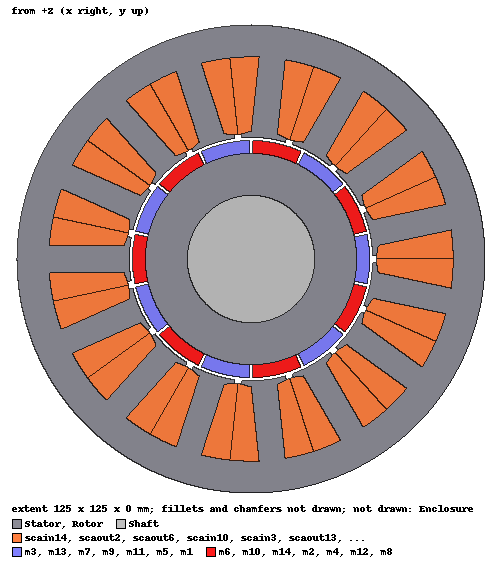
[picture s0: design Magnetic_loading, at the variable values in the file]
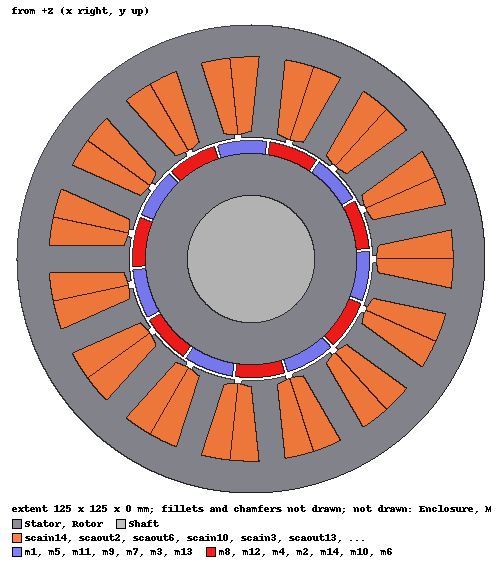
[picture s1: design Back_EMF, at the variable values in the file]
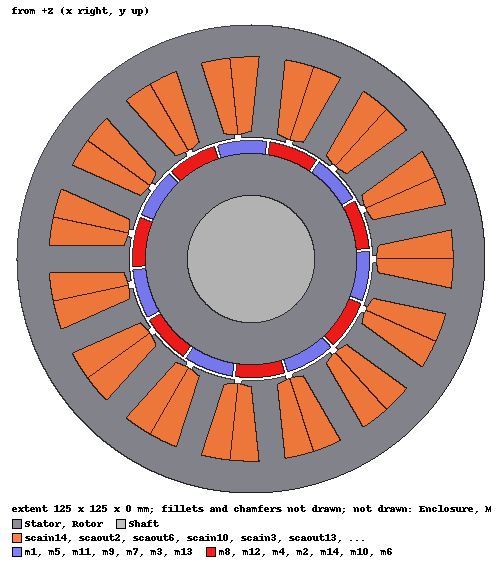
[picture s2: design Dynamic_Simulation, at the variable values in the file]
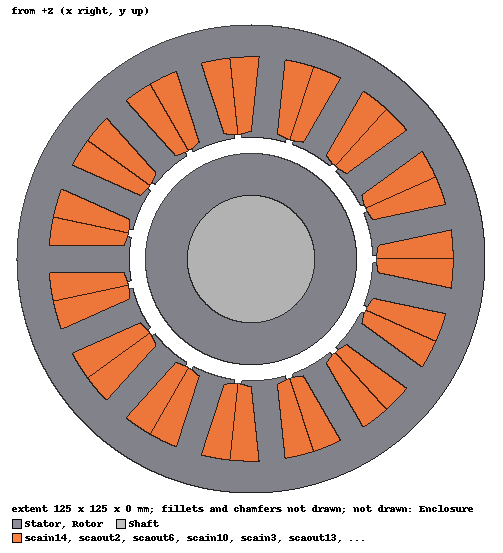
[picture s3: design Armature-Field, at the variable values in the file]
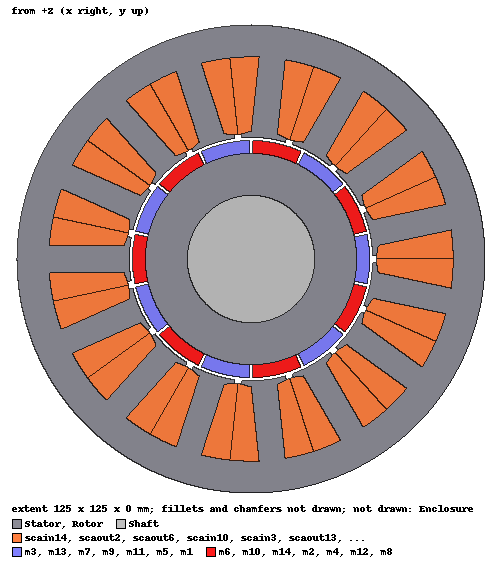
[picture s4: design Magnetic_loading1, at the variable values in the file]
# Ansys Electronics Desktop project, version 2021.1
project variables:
  $OSD = 125mm
  $D = 65mm
  $hs0 = 1mm
  $hs1 = 0.5mm
  $hs2 = 20mm
  $Ns = 15
  $Nm = 14
  $alpha_s = 360deg/$Ns
  $alpha_p = 360deg/$Nm
  $wst1 = 7mm
  $g_wst = 1
  $wst2 = $g_wst*$wst1
  $gamma_s = 2*asin($wst2/2)/($D/2+$hs0+$hs1+$hs2)
  $bs1 = 2*(tan($alpha_s/2)*($D/2+$hs0+$hs1)-$wst1/(2*cos($alpha_s/2)))
  $bs0 = 2mm
  $ssfr = 2mm
  $Dsh = 34mm
  $g = 0.8mm
  $dm = 3.5mm
  $g_m = 0.94
  $alpha_m = $g_m*$alpha_p
  $Lstk = 33mm
  $Ntc = 152
  $Vdc = 500V
  $Rph = 10.2ohm
  $Thetar0 = 43deg
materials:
  vacuum: permittivity=1
  copper: permeability=0.999991 conductivity=58000000
  steel_stainless: conductivity=1100000
  Cogent Power - M350-50A, 50Hz: core_loss_curve{50Hz (0, 0) (0.05, 0.01) (0.1, 0.02) (0.15, 0.055) (0.2, 0.09) (0.25, 0.135) (0.3, 0.18) (0.35, 0.24) (0.4, 0.3) (0.45, 0.37) (0.5, 0.44) (0.55, 0.515) (0.6, 0.59) (0.65, 0.675) (0.7, 0.76) (0.75, 0.855) (0.8, 0.95) (0.85, 1.055) (0.9, 1.16) (0.95, 1.275) (1, 1.39) (1.05, 1.52) (1.1, 1.65) (1.15, 1.8) (1.2, 1.95) (1.25, 2.12) (1.3, 2.29) (1.35, 2.52) (1.4, 2.75) (1.45, 3.02) (1.5, 3.29) (1.55, 3.85) (1.6, 4.41) (1.65, 4.59) (1.7, 4.77) (1.75, 4.885) (1.8, 5)} core_loss_curve{100Hz (0, 0) (0.05, 0.03) (0.1, 0.06) (0.15, 0.15) (0.2, 0.24) (0.25, 0.37) (0.3, 0.5) (0.35, 0.655) (0.4, 0.81) (0.45, 0.995) (0.5, 1.18) (0.55, 1.39) (0.6, 1.6) (0.65, 1.84) (0.7, 2.08) (0.75, 2.35) (0.8, 2.62) (0.85, 2.915) (0.9, 3.21) (0.95, 3.545) (1, 3.88) (1.05, 4.245) (1.1, 4.61) (1.15, 5.02) (1.2, 5.43) (1.25, 5.9) (1.3, 6.37) (1.35, 6.95) (1.4, 7.53) (1.45, 8.26) (1.5, 8.99) (1.55, 9.72) (1.6, 10.45) (1.65, 11.18) (1.7, 11.91) (1.75, 12.64) (1.8, 13.37)} core_loss_curve{200Hz (0, 0) (0.05, 0.085) (0.1, 0.17) (0.15, 0.395) (0.2, 0.62) (0.25, 0.96) (0.3, 1.3) (0.35, 1.725) (0.4, 2.15) (0.45, 2.66) (0.5, 3.17) (0.55, 3.765) (0.6, 4.36) (0.65, 5.045) (0.7, 5.73) (0.75, 6.52) (0.8, 7.31) (0.85, 8.2) (0.9, 9.09) (0.95, 10.095) (1, 11.1) (1.05, 12.25) (1.1, 13.4) (1.15, 14.7) (1.2, 16) (1.25, 17.45) (1.3, 18.9) (1.35, 20.6) (1.4, 22.3) (1.45, 24.45) (1.5, 26.6) (1.55, 28.75) (1.6, 30.9) (1.65, 33.05) (1.7, 35.2) (1.75, 37.35) (1.8, 39.5)} core_loss_curve{400Hz (0, 0) (0.05, 0.24) (0.1, 0.48) (0.15, 1.115) (0.2, 1.75) (0.25, 2.685) (0.3, 3.62) (0.35, 4.82) (0.4, 6.02) (0.45, 7.49) (0.5, 8.96) (0.55, 10.73) (0.6, 12.5) (0.65, 14.55) (0.7, 16.6) (0.75, 19.05) (0.8, 21.5) (0.85, 24.35) (0.9, 27.2) (0.95, 30.5) (1, 33.8) (1.05, 37.65) (1.1, 41.5) (1.15, 45.95) (1.2, 50.4) (1.25, 55.4) (1.3, 60.4) (1.35, 66.25) (1.4, 72.1) (1.45, 78.9) (1.5, 85.7) (1.55, 92.5) (1.6, 99.3) (1.65, 106.1) (1.7, 112.9) (1.75, 119.7) (1.8, 126.5)} core_loss_curve{1000Hz (0, 0) (0.05, 1.01) (0.1, 2.02) (0.15, 4.585) (0.2, 7.15) (0.25, 10.925) (0.3, 14.7) (0.35, 19.65) (0.4, 24.6) (0.45, 30.9) (0.5, 37.2) (0.55, 45.15) (0.6, 53.1) (0.65, 62.9) (0.7, 72.7) (0.75, 84.8) (0.8, 96.9) (0.85, 111.45) (0.9, 126) (0.95, 144) (1, 162) (1.05, 183) (1.1, 204) (1.15, 229) (1.2, 254) (1.25, 283) (1.3, 312) (1.35, 345) (1.4, 378) (1.45, 417) (1.5, 456) (1.55, 495) (1.6, 534) (1.65, 573) (1.7, 612) (1.75, 651) (1.8, 690)} permeability{HUnit=A_per_meter BUnit=tesla curve (0, 0) (9.03568, 0.025) (17.6854, 0.05) (25.5633, 0.075) (32.2833, 0.1) (37.5786, 0.125) (41.6583, 0.15) (44.8505, 0.175) (47.4833, 0.2) (49.8375, 0.225) (52.0042, 0.25) (54.0271, 0.275) (55.95, 0.3) (57.8115, 0.325) (59.6292, 0.35) (61.4156, 0.375) (63.1833, 0.4) (64.9438, 0.425) (66.7042, 0.45) (68.4708, 0.475) (70.25, 0.5) (72.0482, 0.525) (73.8729, 0.55) (75.732, 0.575) (77.6333, 0.6) (79.5841, 0.625) (81.5896, 0.65) (83.6544, 0.675) (85.7833, 0.7) (87.9826, 0.725) (90.2646, 0.75) (92.6435, 0.775) (95.1333, 0.8) (97.7531, 0.825) (100.542, 0.85) (103.543, 0.875) (106.8, 0.9) (110.358, 0.925) (114.267, 0.95) (118.575, 0.975) (123.333, 1) (128.602, 1.025) (134.479, 1.05) (141.076, 1.075) (148.5, 1.1) (156.909, 1.125) (166.646, 1.15) (178.102, 1.175) (191.667, 1.2) (207.922, 1.225) (228.208, 1.25) (254.057, 1.275) (287, 1.3) (329.26, 1.325) (385.833, 1.35) (462.406, 1.375) (564.667, 1.4) (698.927, 1.425) (874, 1.45) (1099.32, 1.475) (1384.33, 1.5) (1737.49, 1.525) (2163.38, 1.55) (2665.57, 1.575) (3247.67, 1.6) (3912.76, 1.625) (4661.94, 1.65) (5495.77, 1.675) (6414.83, 1.7) (7407.02, 1.72474) (8409.48, 1.74794) (9346.65, 1.76806) (10143, 1.78356) (10794.8, 1.79346) (11585.9, 1.79912) (12871.7, 1.80246) (15008, 1.80539) (18240.8, 1.80945) (22378, 1.81465) (27118.3, 1.82061) (32160, 1.82694)} conductivity=2380950 core_loss_type="Electrical Steel" core_loss_kh=182.455 core_loss_kc=1.34676 mass_density=7650 stacking_type=Lamination stacking_factor=0.9 stacking_direction=V(3)
  Arnold_Magnetics_N42UH_60C_North: CoordinateSystemType=Cylindrical permeability{HUnit=A_per_meter BUnit=tesla curve (-1620000, -2.1076) (-1612000, -1.2642) (-1604000, -1.0868) (-1582000, -0.9281) (-1563000, -0.8658) (-1544000, -0.8214) (-1525000, -0.7845) (-1506000, -0.7514) (-1487000, -0.7207) (-1468000, -0.6914) (-1449000, -0.6631) (-1430000, -0.6355) (-1411000, -0.6083) (-1392000, -0.5816) (-1373000, -0.5552) (-1354000, -0.5289) (-1334000, -0.5029) (-1315000, -0.477) (-1296000, -0.4513) (-1277000, -0.4256) (-1258000, -0.4001) (-1239000, -0.3746) (-1220000, -0.3492) (-1201000, -0.3238) (-1182000, -0.2985) (-1163000, -0.2733) (-1144000, -0.248) (-1125000, -0.2228) (-1106000, -0.1977) (-1087000, -0.1725) (-1068000, -0.1474) (-1049000, -0.1223) (-1029000, -0.0972) (-1010000, -0.0722) (-991000, -0.0471) (-972000, -0.0221) (-953000, 0.0029) (-934000, 0.0279) (-915000, 0.0529) (-896000, 0.0779) (-877000, 0.1029) (-858000, 0.1278) (-839000, 0.1528) (-820000, 0.1777) (-801000, 0.2027) (-782000, 0.2276) (-763000, 0.2526) (-743000, 0.2775) (-724000, 0.3024) (-705000, 0.3273) (-686000, 0.3522) (-667000, 0.3771) (-648000, 0.402) (-629000, 0.4269) (-610000, 0.4518) (-591000, 0.4767) (-572000, 0.5016) (-553000, 0.5264) (-534000, 0.5513) (-515000, 0.5762) (-496000, 0.6011) (-477000, 0.6259) (-458000, 0.6508) (-438000, 0.6757) (-419000, 0.7005) (-400000, 0.7254) (-381000, 0.7503) (-362000, 0.7751) (-343000, 0.8) (-324000, 0.8248) (-305000, 0.8497) (-286000, 0.8745) (-267000, 0.8994) (-248000, 0.9242) (-229000, 0.9491) (-210000, 0.9739) (-191000, 0.9988) (-172000, 1.0236) (-153000, 1.0484) (-133000, 1.0733) (-114000, 1.0981) (-95000, 1.1229) (-76000, 1.1478) (-57000, 1.1726) (-38000, 1.1975) (-19000, 1.2223) (0, 1.2471)} conductivity=555555.5556 magnetic_coercivity{Magnitude=-1005300A_per_meter DirComp1=1 DirComp2=0 DirComp3=0}
  Arnold_Magnetics_N42UH_60C_South: CoordinateSystemType=Cylindrical permeability{HUnit=A_per_meter BUnit=tesla curve (-1620000, -2.1076) (-1612000, -1.2642) (-1604000, -1.0868) (-1582000, -0.9281) (-1563000, -0.8658) (-1544000, -0.8214) (-1525000, -0.7845) (-1506000, -0.7514) (-1487000, -0.7207) (-1468000, -0.6914) (-1449000, -0.6631) (-1430000, -0.6355) (-1411000, -0.6083) (-1392000, -0.5816) (-1373000, -0.5552) (-1354000, -0.5289) (-1334000, -0.5029) (-1315000, -0.477) (-1296000, -0.4513) (-1277000, -0.4256) (-1258000, -0.4001) (-1239000, -0.3746) (-1220000, -0.3492) (-1201000, -0.3238) (-1182000, -0.2985) (-1163000, -0.2733) (-1144000, -0.248) (-1125000, -0.2228) (-1106000, -0.1977) (-1087000, -0.1725) (-1068000, -0.1474) (-1049000, -0.1223) (-1029000, -0.0972) (-1010000, -0.0722) (-991000, -0.0471) (-972000, -0.0221) (-953000, 0.0029) (-934000, 0.0279) (-915000, 0.0529) (-896000, 0.0779) (-877000, 0.1029) (-858000, 0.1278) (-839000, 0.1528) (-820000, 0.1777) (-801000, 0.2027) (-782000, 0.2276) (-763000, 0.2526) (-743000, 0.2775) (-724000, 0.3024) (-705000, 0.3273) (-686000, 0.3522) (-667000, 0.3771) (-648000, 0.402) (-629000, 0.4269) (-610000, 0.4518) (-591000, 0.4767) (-572000, 0.5016) (-553000, 0.5264) (-534000, 0.5513) (-515000, 0.5762) (-496000, 0.6011) (-477000, 0.6259) (-458000, 0.6508) (-438000, 0.6757) (-419000, 0.7005) (-400000, 0.7254) (-381000, 0.7503) (-362000, 0.7751) (-343000, 0.8) (-324000, 0.8248) (-305000, 0.8497) (-286000, 0.8745) (-267000, 0.8994) (-248000, 0.9242) (-229000, 0.9491) (-210000, 0.9739) (-191000, 0.9988) (-172000, 1.0236) (-153000, 1.0484) (-133000, 1.0733) (-114000, 1.0981) (-95000, 1.1229) (-76000, 1.1478) (-57000, 1.1726) (-38000, 1.1975) (-19000, 1.2223) (0, 1.2471)} conductivity=555555.5556 magnetic_coercivity{Magnitude=-1005300A_per_meter DirComp1=-1 DirComp2=0 DirComp3=0}

design Magnetic_loading (Maxwell 2D, Magnetostatic, XY geometry, model units mm)
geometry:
  Stator [Cogent Power - M350-50A, 50Hz] = circle(normal=Z, centre=(0mm, 0mm, 0mm), radius=$OSD/2)
  Circle2 = circle(normal=Z, centre=(0mm, 0mm, 0mm), radius=$D/2)
  Stator.subtract(Circle2)
  Polyline1 = polyline(z=0mm, xy: (0mm, 0mm) ($D/2+$hs0+$hs1+$hs2, 0mm) (53.858877mm, 3.901461mm) (53.436245mm, 7.7825298mm) ($D/2+$hs0+$hs1, $bs1/2) ($D/2+$hs0, $bs0/2) (0mm, $bs0/2) (0mm, 0mm), closed, covered, AngularArc from point 1 over 3 centre=(0mm, 0mm, 0mm) angle=$alpha_s/2-$gamma_s/2 plane=XY)
  Polyline1.fillet(Vertices=Polyline1.vertex(3 of 6) Radius=$ssfr Setback=0mm)
  Polyline1_1 = Polyline1.duplicate_mirror(point=(0mm, 0mm, 0mm), normal=(0mm, -1mm, 0mm))
  Polyline1.unite(Polyline1_1)
  Polyline1_2..Polyline1_16 = Polyline1.duplicate_around_axis(axis=Z, angle=360deg/15, total=16)
  Stator.subtract(Polyline1_10..Polyline1_16, Polyline1_2..Polyline1_9)
  scain1 [copper] = rectangle(corner=($D/2+$hs0, 0mm, 0mm), x_size=$OSD/2, y_size=$OSD/2)
  scain1.intersect(Polyline1)
  scaout15 [copper] = scain1.duplicate_mirror(point=(33.5mm, 0mm, 0mm), normal=(0mm, -1mm, 0mm))
  scain2..scain15 [copper] = scain1.duplicate_around_axis(axis=Z, angle=360deg/15, total=15)
  scaout1..scaout14 [copper] = scaout15.duplicate_around_axis(axis=Z, angle=360deg/15, total=15)
  Shaft [steel_stainless] = circle(normal=Z, centre=(0mm, 0mm, 0mm), radius=$Dsh/2)
  Rotor [Cogent Power - M350-50A, 50Hz] = circle(normal=Z, centre=(0mm, 0mm, 0mm), radius=$D/2-$g-$dm)
  m1 [Arnold_Magnetics_N42UH_60C_North] = polyline(z=0mm, xy: (0mm, 0mm) (($D/2-$g)*cos(-$alpha_m/2), ($D/2-$g)*sin(-$alpha_m/2)) (31.7mm, 0mm) (30.997384mm, 6.63718mm) (0mm, 0mm), closed, covered, AngularArc from point 1 over 3 centre=(0mm, 0mm, 0mm) angle=$alpha_m plane=XY)
  Circle4_1 = Rotor.copy()
  m1.subtract(Circle4_1)
  Circle3_1 = Shaft.copy()
  Rotor.subtract(Circle3_1)
  m2 [Arnold_Magnetics_N42UH_60C_South], m3 [Arnold_Magnetics_N42UH_60C_North], m4 [Arnold_Magnetics_N42UH_60C_South], m5 [Arnold_Magnetics_N42UH_60C_North], m6 [Arnold_Magnetics_N42UH_60C_South], m7 [Arnold_Magnetics_N42UH_60C_North], m8 [Arnold_Magnetics_N42UH_60C_South], m9 [Arnold_Magnetics_N42UH_60C_North], m10 [Arnold_Magnetics_N42UH_60C_South], m11 [Arnold_Magnetics_N42UH_60C_North], m12 [Arnold_Magnetics_N42UH_60C_South], m13 [Arnold_Magnetics_N42UH_60C_North], m14 [Arnold_Magnetics_N42UH_60C_South] = m1.duplicate_around_axis(axis=Z, angle=(360/14) deg, total=14)
  Enclosure [vacuum] = circle(normal=Z, centre=(0mm, 0mm, 0mm), radius=$OSD/2+10mm)
  Polyline_Bav [non-model] = polyline(z=0mm, xy: ($D/2-$g/2, 0mm) (-32.099988mm, 0.028012531mm) (32.099951mm, -0.056025041mm), AngularArc from point 0 over 3 centre=(0mm, 0mm, 0mm) angle=359.9deg plane=XY)
  Polyline_Bm1 [non-model] = polyline(z=0mm, xy: (($D/2-$g-$dm/2)*cos(-$alpha_m/2), ($D/2-$g-$dm/2)*sin(-$alpha_m/2)) (29.95mm, -8.8817842e-16mm) (29.286172mm, 6.2707742mm), AngularArc from point 0 over 3 centre=(0mm, 0mm, 0mm) angle=$alpha_m plane=XY)
  Polyline_Bm2..Polyline_Bm14 [non-model] = Polyline_Bm1.duplicate_around_axis(axis=Z, angle=(360/14) deg, total=14)
  Polyline_Hm1 [non-model] = polyline(($D/2-$g-$dm, 0mm, 0mm) ($D/2-$g, 0mm, 0mm))
  Polyline_Hm2..Polyline_Hm14 [non-model] = Polyline_Hm1.duplicate_around_axis(axis=Z, angle=(360/14) deg, total=14)
  Polyline_Hg1 [non-model] = polyline(($D/2-$g, 0mm, 0mm) ($D/2, 0mm, 0mm))
  Polyline_Hg2..Polyline_Hg14 [non-model] = Polyline_Hg1.duplicate_around_axis(axis=Z, angle=(360/14) deg, total=14)
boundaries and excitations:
  ZeroVectorPotential: Vector Potential Edges=Enclosure.edge(1 of 1) Value=0
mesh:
  PMs: LengthBased RefineInside Objects=[m1, m3, m5, m7, m9, m11, m13, m2, m4, m6, m8, m10, m12, m14] MaxLength=$dm/2
  Length1: LengthBased RefineInside Objects=[Stator, scain1, scaout15, scain2..scain15, scaout1..scaout14, Shaft, Rotor, m1..m14, Enclosure] MaxLength=10mm
  initial mesh: MeshMethod=AnsoftTAU
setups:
  Setup1: Magnetostatic MaximumPasses=10 MinimumPasses=2 MinimumConvergedPasses=1 PercentRefinement=30 PercentError=1 NonLinearResidual=0.0001
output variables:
  K_l = phi_ag/(phi_m1+phi_m2+phi_m3+phi_m4+phi_m5+phi_m6+phi_m7+phi_m8+phi_m9+phi_m10+phi_m11+phi_m12+phi_m13+phi_m14)
  K_r = (mmf_m1+mmf_m2+mmf_m3+mmf_m4+mmf_m5+mmf_m6+mmf_m7+mmf_m8+mmf_m9+mmf_m10+mmf_m11+mmf_m12+mmf_m13+mmf_m14)/(mmf_g1+mmf_g2+mmf_g3+mmf_g4+mmf_g5+mmf_g6+mmf_g7+mmf_g8+mmf_g9+mmf_g10+mmf_g11+mmf_g12+mmf_g13+mmf_g14)
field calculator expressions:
  Br = Fundamental_Quantity(22) | Vector_Function(FuncValueX='0mm', FuncValueY='0mm', FuncValueZ='0mm') | ToCylindrical | ScalarX
  abs_Br = Br | Abs
  phi_m1 = abs_Br | EnterLine(Polyline_Bm1) | LineValue | Integrate
  phi_m2 = abs_Br | EnterLine(Polyline_Bm2) | LineValue | Integrate
  phi_m3 = abs_Br | EnterLine(Polyline_Bm3) | LineValue | Integrate
  phi_m4 = abs_Br | EnterLine(Polyline_Bm4) | LineValue | Integrate
  phi_m5 = abs_Br | EnterLine(Polyline_Bm5) | LineValue | Integrate
  phi_m6 = abs_Br | EnterLine(Polyline_Bm6) | LineValue | Integrate
  phi_m7 = abs_Br | EnterLine(Polyline_Bm7) | LineValue | Integrate
  phi_m8 = abs_Br | EnterLine(Polyline_Bm8) | LineValue | Integrate
  phi_m9 = abs_Br | EnterLine(Polyline_Bm9) | LineValue | Integrate
  phi_m10 = abs_Br | EnterLine(Polyline_Bm10) | LineValue | Integrate
  phi_m11 = abs_Br | EnterLine(Polyline_Bm11) | LineValue | Integrate
  phi_m12 = abs_Br | EnterLine(Polyline_Bm12) | LineValue | Integrate
  phi_m13 = abs_Br | EnterLine(Polyline_Bm13) | LineValue | Integrate
  phi_m14 = abs_Br | EnterLine(Polyline_Bm14) | LineValue | Integrate
  phi_ag = abs_Br | EnterLine(Polyline_Bav) | LineValue | Integrate
  Hr = Fundamental_Quantity(21) | Vector_Function(FuncValueX='0mm', FuncValueY='0mm', FuncValueZ='0mm') | ToCylindrical | ScalarX
  abs_Hr = Hr | Abs
  mmf_m1 = abs_Hr | EnterLine(Polyline_Hm1) | LineValue | Integrate
  mmf_m2 = abs_Hr | EnterLine(Polyline_Hm2) | LineValue | Integrate
  mmf_m3 = abs_Hr | EnterLine(Polyline_Hm3) | LineValue | Integrate
  mmf_m4 = abs_Hr | EnterLine(Polyline_Hm4) | LineValue | Integrate
  mmf_m5 = abs_Hr | EnterLine(Polyline_Hm5) | LineValue | Integrate
  mmf_m6 = abs_Hr | EnterLine(Polyline_Hm6) | LineValue | Integrate
  mmf_m7 = abs_Hr | EnterLine(Polyline_Hm7) | LineValue | Integrate
  mmf_m8 = abs_Hr | EnterLine(Polyline_Hm8) | LineValue | Integrate
  mmf_m9 = abs_Hr | EnterLine(Polyline_Hm9) | LineValue | Integrate
  mmf_m10 = abs_Hr | EnterLine(Polyline_Hm10) | LineValue | Integrate
  mmf_m11 = abs_Hr | EnterLine(Polyline_Hm11) | LineValue | Integrate
  mmf_m12 = abs_Hr | EnterLine(Polyline_Hm12) | LineValue | Integrate
  mmf_m13 = abs_Hr | EnterLine(Polyline_Hm13) | LineValue | Integrate
  mmf_m14 = abs_Hr | EnterLine(Polyline_Hm14) | LineValue | Integrate
  mmf_g1 = abs_Hr | EnterLine(Polyline_Hg1) | LineValue | Integrate
  mmf_g2 = abs_Hr | EnterLine(Polyline_Hg2) | LineValue | Integrate
  mmf_g3 = abs_Hr | EnterLine(Polyline_Hg3) | LineValue | Integrate
  mmf_g4 = abs_Hr | EnterLine(Polyline_Hg4) | LineValue | Integrate
  mmf_g5 = abs_Hr | EnterLine(Polyline_Hg5) | LineValue | Integrate
  mmf_g6 = abs_Hr | EnterLine(Polyline_Hg6) | LineValue | Integrate
  mmf_g7 = abs_Hr | EnterLine(Polyline_Hg7) | LineValue | Integrate
  mmf_g8 = abs_Hr | EnterLine(Polyline_Hg8) | LineValue | Integrate
  mmf_g9 = abs_Hr | EnterLine(Polyline_Hg9) | LineValue | Integrate
  mmf_g10 = abs_Hr | EnterLine(Polyline_Hg10) | LineValue | Integrate
  mmf_g11 = abs_Hr | EnterLine(Polyline_Hg11) | LineValue | Integrate
  mmf_g12 = abs_Hr | EnterLine(Polyline_Hg12) | LineValue | Integrate
  mmf_g13 = abs_Hr | EnterLine(Polyline_Hg13) | LineValue | Integrate
  mmf_g14 = abs_Hr | EnterLine(Polyline_Hg14) | LineValue | Integrate
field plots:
  Mesh1: MeshPlots over Stator, scain1, scaout15, scain2..scain15, scaout1..scaout14, Shaft, Rotor, m1..m14, Enclosure on Setup1 : LastAdaptive
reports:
  Calculator Expressions Plot 1: Br vs Distance on Setup1 : LastAdaptive
  Calculator Expressions Table 1: phi_m1, phi_m2, phi_m3, phi_m4, phi_m5, phi_m6, phi_m7, phi_m8, phi_m9, phi_m10, phi_m11, phi_m12, phi_m13, phi_m14, phi_ag vs $OSD on Setup1 : LastAdaptive
   Table 1: phi_m1*$Lstk vs $OSD on Setup1 : LastAdaptive
  Output Variables Table 1: K_l vs $OSD on Setup1 : LastAdaptive
  Output Variables Table 2: K_r vs $OSD on Setup1 : LastAdaptive

design Back_EMF (Maxwell 2D, Transient, XY geometry, model units mm)
options: ModelDepth=$Lstk
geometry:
  Stator [Cogent Power - M350-50A, 50Hz] = circle(normal=Z, centre=(0mm, 0mm, 0mm), radius=$OSD/2)
  Circle2 = circle(normal=Z, centre=(0mm, 0mm, 0mm), radius=$D/2)
  Stator.subtract(Circle2)
  Polyline1 = polyline(z=0mm, xy: (0mm, 0mm) ($D/2+$hs0+$hs1+$hs2, 0mm) (53.858877mm, 3.901461mm) (53.436245mm, 7.7825298mm) ($D/2+$hs0+$hs1, $bs1/2) ($D/2+$hs0, $bs0/2) (0mm, $bs0/2) (0mm, 0mm), closed, covered, AngularArc from point 1 over 3 centre=(0mm, 0mm, 0mm) angle=$alpha_s/2-$gamma_s/2 plane=XY)
  Polyline1.fillet(Vertices=Polyline1.vertex(3 of 6) Radius=$ssfr Setback=0mm)
  Polyline1_1 = Polyline1.duplicate_mirror(point=(0mm, 0mm, 0mm), normal=(0mm, -1mm, 0mm))
  Polyline1.unite(Polyline1_1)
  Polyline1_2..Polyline1_16 = Polyline1.duplicate_around_axis(axis=Z, angle=360deg/15, total=16)
  Stator.subtract(Polyline1_10..Polyline1_16, Polyline1_2..Polyline1_9)
  scain1 [copper] = rectangle(corner=($D/2+$hs0, 0mm, 0mm), x_size=$OSD/2, y_size=$OSD/2)
  scain1.intersect(Polyline1)
  scaout15 [copper] = scain1.duplicate_mirror(point=(33.5mm, 0mm, 0mm), normal=(0mm, -1mm, 0mm))
  scain2..scain15 [copper] = scain1.duplicate_around_axis(axis=Z, angle=360deg/15, total=15)
  scaout1..scaout14 [copper] = scaout15.duplicate_around_axis(axis=Z, angle=360deg/15, total=15)
  Shaft [steel_stainless] = circle(normal=Z, centre=(0mm, 0mm, 0mm), radius=$Dsh/2)
  Rotor [Cogent Power - M350-50A, 50Hz] = circle(normal=Z, centre=(0mm, 0mm, 0mm), radius=$D/2-$g-$dm)
  m1 [Arnold_Magnetics_N42UH_60C_North] = polyline(z=0mm, xy: (0mm, 0mm) (($D/2-$g)*cos(-$alpha_m/2), ($D/2-$g)*sin(-$alpha_m/2)) (31.7mm, 0mm) (30.997384mm, 6.63718mm) (0mm, 0mm), closed, covered, AngularArc from point 1 over 3 centre=(0mm, 0mm, 0mm) angle=$alpha_m plane=XY)
  Circle4_1 = Rotor.copy()
  m1.subtract(Circle4_1)
  Circle3_1 = Shaft.copy()
  Rotor.subtract(Circle3_1)
  m2 [Arnold_Magnetics_N42UH_60C_South], m3 [Arnold_Magnetics_N42UH_60C_North], m4 [Arnold_Magnetics_N42UH_60C_South], m5 [Arnold_Magnetics_N42UH_60C_North], m6 [Arnold_Magnetics_N42UH_60C_South], m7 [Arnold_Magnetics_N42UH_60C_North], m8 [Arnold_Magnetics_N42UH_60C_South], m9 [Arnold_Magnetics_N42UH_60C_North], m10 [Arnold_Magnetics_N42UH_60C_South], m11 [Arnold_Magnetics_N42UH_60C_North], m12 [Arnold_Magnetics_N42UH_60C_South], m13 [Arnold_Magnetics_N42UH_60C_North], m14 [Arnold_Magnetics_N42UH_60C_South] = m1.duplicate_around_axis(axis=Z, angle=(360/14) deg, total=14)
  Enclosure [vacuum] = circle(normal=Z, centre=(0mm, 0mm, 0mm), radius=$OSD/2+10mm)
  Motion_Band [vacuum] = circle(normal=Z, centre=(0mm, 0mm, 0mm), radius=$D/2-$g/2)
  [m1, m3, m5, m7, m9, m11, m13, m2, m4, m6, m8, m10, m12, m14].rotate(axis=Z, angle=$Thetar0)
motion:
  MotionSetup1: Band Move_Type=Rotate Coordinate_System=Global Axis=Z Is_Positive=true InitPos=0deg Angular_Velocity=1500rpm Objects=Motion_Band
  Moving1: Moving Objects=[Shaft, Rotor, m1..m14]
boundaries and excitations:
  ZeroVectorPotential: Vector Potential Edges=Enclosure.edge(1 of 1) Value=0
  scain1: Coil Objects=scain1 Conductor_number=$Ntc Winding=COIL_1 PolarityType=Negative
  scaout1: Coil Objects=scaout1 Conductor_number=$Ntc Winding=COIL_1 PolarityType=Positive
  scain2: Coil Objects=scain2 Conductor_number=$Ntc Winding=COIL_2 PolarityType=Negative
  scaout2: Coil Objects=scaout2 Conductor_number=$Ntc Winding=COIL_2 PolarityType=Positive
  scain3: Coil Objects=scain3 Conductor_number=$Ntc Winding=COIL_3 PolarityType=Negative
  scaout3: Coil Objects=scaout3 Conductor_number=$Ntc Winding=COIL_3 PolarityType=Positive
  scain4: Coil Objects=scain4 Conductor_number=$Ntc Winding=COIL_4 PolarityType=Negative
  scaout4: Coil Objects=scaout4 Conductor_number=$Ntc Winding=COIL_4 PolarityType=Positive
  scain5: Coil Objects=scain5 Conductor_number=$Ntc Winding=COIL_5 PolarityType=Negative
  scaout5: Coil Objects=scaout5 Conductor_number=$Ntc Winding=COIL_5 PolarityType=Positive
  scain6: Coil Objects=scain6 Conductor_number=$Ntc Winding=COIL_6 PolarityType=Negative
  scaout6: Coil Objects=scaout6 Conductor_number=$Ntc Winding=COIL_6 PolarityType=Positive
  scain7: Coil Objects=scain7 Conductor_number=$Ntc Winding=COIL_7 PolarityType=Negative
  scaout7: Coil Objects=scaout7 Conductor_number=$Ntc Winding=COIL_7 PolarityType=Positive
  scain8: Coil Objects=scain8 Conductor_number=$Ntc Winding=COIL_8 PolarityType=Negative
  scaout8: Coil Objects=scaout8 Conductor_number=$Ntc Winding=COIL_8 PolarityType=Positive
  scain9: Coil Objects=scain9 Conductor_number=$Ntc Winding=COIL_9 PolarityType=Negative
  scaout9: Coil Objects=scaout9 Conductor_number=$Ntc Winding=COIL_9 PolarityType=Positive
  scain10: Coil Objects=scain10 Conductor_number=$Ntc Winding=COIL_10 PolarityType=Negative
  scaout10: Coil Objects=scaout10 Conductor_number=$Ntc Winding=COIL_10 PolarityType=Positive
  scain11: Coil Objects=scain11 Conductor_number=$Ntc Winding=COIL_11 PolarityType=Negative
  scaout11: Coil Objects=scaout11 Conductor_number=$Ntc Winding=COIL_11 PolarityType=Positive
  scain12: Coil Objects=scain12 Conductor_number=$Ntc Winding=COIL_12 PolarityType=Negative
  scaout12: Coil Objects=scaout12 Conductor_number=$Ntc Winding=COIL_12 PolarityType=Positive
  scain13: Coil Objects=scain13 Conductor_number=$Ntc Winding=COIL_13 PolarityType=Negative
  scaout13: Coil Objects=scaout13 Conductor_number=$Ntc Winding=COIL_13 PolarityType=Positive
  scain14: Coil Objects=scain14 Conductor_number=$Ntc Winding=COIL_14 PolarityType=Negative
  scaout14: Coil Objects=scaout14 Conductor_number=$Ntc Winding=COIL_14 PolarityType=Positive
  scain15: Coil Objects=scain15 Conductor_number=$Ntc Winding=COIL_15 PolarityType=Negative
  scaout15: Coil Objects=scaout15 Conductor_number=$Ntc Winding=COIL_15 PolarityType=Positive
  COIL_1: Winding Group Type=External IsSolid=false Current=0mA ParallelBranchesNum=1
  COIL_2: Winding Group Type=External IsSolid=false Current=0mA ParallelBranchesNum=1
  COIL_3: Winding Group Type=External IsSolid=false Current=0mA ParallelBranchesNum=1
  COIL_4: Winding Group Type=External IsSolid=false Current=0mA ParallelBranchesNum=1
  COIL_5: Winding Group Type=External IsSolid=false Current=0mA ParallelBranchesNum=1
  COIL_6: Winding Group Type=External IsSolid=false Current=0mA ParallelBranchesNum=1
  COIL_7: Winding Group Type=External IsSolid=false Current=0mA ParallelBranchesNum=1
  COIL_8: Winding Group Type=External IsSolid=false Current=0mA ParallelBranchesNum=1
  COIL_9: Winding Group Type=External IsSolid=false Current=0mA ParallelBranchesNum=1
  COIL_10: Winding Group Type=External IsSolid=false Current=0mA ParallelBranchesNum=1
  COIL_11: Winding Group Type=External IsSolid=false Current=0mA ParallelBranchesNum=1
  COIL_12: Winding Group Type=External IsSolid=false Current=0mA ParallelBranchesNum=1
  COIL_13: Winding Group Type=External IsSolid=false Current=0mA ParallelBranchesNum=1
  COIL_14: Winding Group Type=External IsSolid=false Current=0mA ParallelBranchesNum=1
  COIL_15: Winding Group Type=External IsSolid=false Current=0mA ParallelBranchesNum=1
  external circuit: "* Design: Back_EMF_Ckt"
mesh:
  PMs: LengthBased RefineInside Objects=[m1, m3, m5, m7, m9, m11, m13, m2, m4, m6, m8, m10, m12, m14] MaxLength=$dm/2
  Length1: LengthBased RefineInside Objects=[Stator, scain1, scaout15, scain2..scain15, scaout1..scaout14, Shaft, Rotor, m1..m14, Enclosure] MaxLength=10mm
  initial mesh: MeshMethod=AnsoftTAU
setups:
  Setup1: Transient NonlinearSolverResidual=0.0001 StopTime=5.71ms TimeStep=5.71ms/100 InitialTimeStep=0.002s MinTimeStep=0.001s MaxTimeStep=0.003s TimeStepErrTolerance=0.0001
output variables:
  BEMF = max(max(NodeVoltage(Ie_a),NodeVoltage(Ie_b)),NodeVoltage(Ie_c))-min(min(NodeVoltage(Ie_a),NodeVoltage(Ie_b)),NodeVoltage(Ie_c))
  Fl_a = FluxLinkage(COIL_1)-FluxLinkage(COIL_2)-FluxLinkage(COIL_15)+FluxLinkage(COIL_3)+FluxLinkage(COIL_14)
  Fl_b = FluxLinkage(COIL_6)-FluxLinkage(COIL_7)-FluxLinkage(COIL_5)+FluxLinkage(COIL_8)+FluxLinkage(COIL_4)
  Fl_c = FluxLinkage(COIL_11)-FluxLinkage(COIL_12)-FluxLinkage(COIL_10)+FluxLinkage(COIL_13)+FluxLinkage(COIL_9)
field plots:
  Mesh1: MeshPlots over Stator, scain1, scaout15, scain2..scain15, scaout1..scaout14, Shaft, Rotor, m1..m14, Enclosure, Motion_Band on Setup1 : Transient at Time=0.00571s
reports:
  Phase_BEMF: NodeVoltage(Ie_a), NodeVoltage(Ie_b), NodeVoltage(Ie_c) vs Time on Setup1 : Transient
  BEMF_Seen_by_source: BEMF vs Time on Setup1 : Transient
  Flux_Linkage: Fl_a, Fl_b, Fl_c vs Time on Setup1 : Transient
  Torque Plot 1: Moving1.Torque vs Time on Setup1 : Transient
  NodeVoltage Plot 1: NodeVoltage(Ie_a), NodeVoltage(Ie_b), NodeVoltage(Ie_c) vs Moving1.Position on Setup1 : Transient

design Dynamic_Simulation (Maxwell 2D, Transient, XY geometry, model units mm)
options: ModelDepth=$Lstk
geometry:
  Stator [Cogent Power - M350-50A, 50Hz] = circle(normal=Z, centre=(0mm, 0mm, 0mm), radius=$OSD/2)
  Circle2 = circle(normal=Z, centre=(0mm, 0mm, 0mm), radius=$D/2)
  Stator.subtract(Circle2)
  Polyline1 = polyline(z=0mm, xy: (0mm, 0mm) ($D/2+$hs0+$hs1+$hs2, 0mm) (53.858877mm, 3.901461mm) (53.436245mm, 7.7825298mm) ($D/2+$hs0+$hs1, $bs1/2) ($D/2+$hs0, $bs0/2) (0mm, $bs0/2) (0mm, 0mm), closed, covered, AngularArc from point 1 over 3 centre=(0mm, 0mm, 0mm) angle=$alpha_s/2-$gamma_s/2 plane=XY)
  Polyline1.fillet(Vertices=Polyline1.vertex(3 of 6) Radius=$ssfr Setback=0mm)
  Polyline1_1 = Polyline1.duplicate_mirror(point=(0mm, 0mm, 0mm), normal=(0mm, -1mm, 0mm))
  Polyline1.unite(Polyline1_1)
  Polyline1_2..Polyline1_16 = Polyline1.duplicate_around_axis(axis=Z, angle=360deg/15, total=16)
  Stator.subtract(Polyline1_10..Polyline1_16, Polyline1_2..Polyline1_9)
  scain1 [copper] = rectangle(corner=($D/2+$hs0, 0mm, 0mm), x_size=$OSD/2, y_size=$OSD/2)
  scain1.intersect(Polyline1)
  scaout15 [copper] = scain1.duplicate_mirror(point=(33.5mm, 0mm, 0mm), normal=(0mm, -1mm, 0mm))
  scain2..scain15 [copper] = scain1.duplicate_around_axis(axis=Z, angle=360deg/15, total=15)
  scaout1..scaout14 [copper] = scaout15.duplicate_around_axis(axis=Z, angle=360deg/15, total=15)
  Shaft [steel_stainless] = circle(normal=Z, centre=(0mm, 0mm, 0mm), radius=$Dsh/2)
  Rotor [Cogent Power - M350-50A, 50Hz] = circle(normal=Z, centre=(0mm, 0mm, 0mm), radius=$D/2-$g-$dm)
  m1 [Arnold_Magnetics_N42UH_60C_North] = polyline(z=0mm, xy: (0mm, 0mm) (($D/2-$g)*cos(-$alpha_m/2), ($D/2-$g)*sin(-$alpha_m/2)) (31.7mm, 0mm) (30.997384mm, 6.63718mm) (0mm, 0mm), closed, covered, AngularArc from point 1 over 3 centre=(0mm, 0mm, 0mm) angle=$alpha_m plane=XY)
  Circle4_1 = Rotor.copy()
  m1.subtract(Circle4_1)
  Circle3_1 = Shaft.copy()
  Rotor.subtract(Circle3_1)
  m2 [Arnold_Magnetics_N42UH_60C_South], m3 [Arnold_Magnetics_N42UH_60C_North], m4 [Arnold_Magnetics_N42UH_60C_South], m5 [Arnold_Magnetics_N42UH_60C_North], m6 [Arnold_Magnetics_N42UH_60C_South], m7 [Arnold_Magnetics_N42UH_60C_North], m8 [Arnold_Magnetics_N42UH_60C_South], m9 [Arnold_Magnetics_N42UH_60C_North], m10 [Arnold_Magnetics_N42UH_60C_South], m11 [Arnold_Magnetics_N42UH_60C_North], m12 [Arnold_Magnetics_N42UH_60C_South], m13 [Arnold_Magnetics_N42UH_60C_North], m14 [Arnold_Magnetics_N42UH_60C_South] = m1.duplicate_around_axis(axis=Z, angle=(360/14) deg, total=14)
  Enclosure [vacuum] = circle(normal=Z, centre=(0mm, 0mm, 0mm), radius=$OSD/2+10mm)
  Motion_Band [vacuum] = circle(normal=Z, centre=(0mm, 0mm, 0mm), radius=$D/2-$g/2)
  [m1, m3, m5, m7, m9, m11, m13, m2, m4, m6, m8, m10, m12, m14].rotate(axis=Z, angle=$Thetar0)
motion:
  MotionSetup1: Band Move_Type=Rotate Coordinate_System=Global Axis=Z Is_Positive=true InitPos=0deg Angular_Velocity=0rpm Moment_of_Inertia=0.001 Damping=0.000608 Load_Torque=-4.8NewtonMeter Objects=Motion_Band
  Moving1: Moving Objects=[Shaft, Rotor, m1..m14]
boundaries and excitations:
  ZeroVectorPotential: Vector Potential Edges=Enclosure.edge(1 of 1) Value=0
  scain1: Coil Objects=scain1 Conductor_number=$Ntc Winding=COIL_1 PolarityType=Negative
  scaout1: Coil Objects=scaout1 Conductor_number=$Ntc Winding=COIL_1 PolarityType=Positive
  scain2: Coil Objects=scain2 Conductor_number=$Ntc Winding=COIL_2 PolarityType=Negative
  scaout2: Coil Objects=scaout2 Conductor_number=$Ntc Winding=COIL_2 PolarityType=Positive
  scain3: Coil Objects=scain3 Conductor_number=$Ntc Winding=COIL_3 PolarityType=Negative
  scaout3: Coil Objects=scaout3 Conductor_number=$Ntc Winding=COIL_3 PolarityType=Positive
  scain4: Coil Objects=scain4 Conductor_number=$Ntc Winding=COIL_4 PolarityType=Negative
  scaout4: Coil Objects=scaout4 Conductor_number=$Ntc Winding=COIL_4 PolarityType=Positive
  scain5: Coil Objects=scain5 Conductor_number=$Ntc Winding=COIL_5 PolarityType=Negative
  scaout5: Coil Objects=scaout5 Conductor_number=$Ntc Winding=COIL_5 PolarityType=Positive
  scain6: Coil Objects=scain6 Conductor_number=$Ntc Winding=COIL_6 PolarityType=Negative
  scaout6: Coil Objects=scaout6 Conductor_number=$Ntc Winding=COIL_6 PolarityType=Positive
  scain7: Coil Objects=scain7 Conductor_number=$Ntc Winding=COIL_7 PolarityType=Negative
  scaout7: Coil Objects=scaout7 Conductor_number=$Ntc Winding=COIL_7 PolarityType=Positive
  scain8: Coil Objects=scain8 Conductor_number=$Ntc Winding=COIL_8 PolarityType=Negative
  scaout8: Coil Objects=scaout8 Conductor_number=$Ntc Winding=COIL_8 PolarityType=Positive
  scain9: Coil Objects=scain9 Conductor_number=$Ntc Winding=COIL_9 PolarityType=Negative
  scaout9: Coil Objects=scaout9 Conductor_number=$Ntc Winding=COIL_9 PolarityType=Positive
  scain10: Coil Objects=scain10 Conductor_number=$Ntc Winding=COIL_10 PolarityType=Negative
  scaout10: Coil Objects=scaout10 Conductor_number=$Ntc Winding=COIL_10 PolarityType=Positive
  scain11: Coil Objects=scain11 Conductor_number=$Ntc Winding=COIL_11 PolarityType=Negative
  scaout11: Coil Objects=scaout11 Conductor_number=$Ntc Winding=COIL_11 PolarityType=Positive
  scain12: Coil Objects=scain12 Conductor_number=$Ntc Winding=COIL_12 PolarityType=Negative
  scaout12: Coil Objects=scaout12 Conductor_number=$Ntc Winding=COIL_12 PolarityType=Positive
  scain13: Coil Objects=scain13 Conductor_number=$Ntc Winding=COIL_13 PolarityType=Negative
  scaout13: Coil Objects=scaout13 Conductor_number=$Ntc Winding=COIL_13 PolarityType=Positive
  scain14: Coil Objects=scain14 Conductor_number=$Ntc Winding=COIL_14 PolarityType=Negative
  scaout14: Coil Objects=scaout14 Conductor_number=$Ntc Winding=COIL_14 PolarityType=Positive
  scain15: Coil Objects=scain15 Conductor_number=$Ntc Winding=COIL_15 PolarityType=Negative
  scaout15: Coil Objects=scaout15 Conductor_number=$Ntc Winding=COIL_15 PolarityType=Positive
  COIL_1: Winding Group Type=External IsSolid=false Current=0mA ParallelBranchesNum=1
  COIL_2: Winding Group Type=External IsSolid=false Current=0mA ParallelBranchesNum=1
  COIL_3: Winding Group Type=External IsSolid=false Current=0mA ParallelBranchesNum=1
  COIL_4: Winding Group Type=External IsSolid=false Current=0mA ParallelBranchesNum=1
  COIL_5: Winding Group Type=External IsSolid=false Current=0mA ParallelBranchesNum=1
  COIL_6: Winding Group Type=External IsSolid=false Current=0mA ParallelBranchesNum=1
  COIL_7: Winding Group Type=External IsSolid=false Current=0mA ParallelBranchesNum=1
  COIL_8: Winding Group Type=External IsSolid=false Current=0mA ParallelBranchesNum=1
  COIL_9: Winding Group Type=External IsSolid=false Current=0mA ParallelBranchesNum=1
  COIL_10: Winding Group Type=External IsSolid=false Current=0mA ParallelBranchesNum=1
  COIL_11: Winding Group Type=External IsSolid=false Current=0mA ParallelBranchesNum=1
  COIL_12: Winding Group Type=External IsSolid=false Current=0mA ParallelBranchesNum=1
  COIL_13: Winding Group Type=External IsSolid=false Current=0mA ParallelBranchesNum=1
  COIL_14: Winding Group Type=External IsSolid=false Current=0mA ParallelBranchesNum=1
  COIL_15: Winding Group Type=External IsSolid=false Current=0mA ParallelBranchesNum=1
  eddy effects on: m1..m14
  core loss on: Stator, Rotor
  external circuit: "* Design: Dynamic_circuit"
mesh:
  PMs: LengthBased RefineInside Objects=[m1, m3, m5, m7, m9, m11, m13, m2, m4, m6, m8, m10, m12, m14] MaxLength=$dm/2
  Length1: LengthBased RefineInside Objects=[Stator, scain1, scaout15, scain2..scain15, scaout1..scaout14, Shaft, Rotor, m1..m14, Enclosure] MaxLength=10mm
  initial mesh: MeshMethod=AnsoftTAU
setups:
  Setup1: Transient NonlinearSolverResidual=0.0001 StopTime=5.71ms*10 TimeStep=5.71ms/150 InitialTimeStep=0.002s MinTimeStep=0.001s MaxTimeStep=0.003s TimeStepErrTolerance=0.0001
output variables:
  BEMF = max(max(NodeVoltage(Ie_a),NodeVoltage(Ie_b)),NodeVoltage(Ie_c))-min(min(NodeVoltage(Ie_a),NodeVoltage(Ie_b)),NodeVoltage(Ie_c))
  Fl_a = FluxLinkage(COIL_1)-FluxLinkage(COIL_2)-FluxLinkage(COIL_15)+FluxLinkage(COIL_3)+FluxLinkage(COIL_14)
  Fl_b = FluxLinkage(COIL_6)-FluxLinkage(COIL_7)-FluxLinkage(COIL_5)+FluxLinkage(COIL_8)+FluxLinkage(COIL_4)
  Fl_c = FluxLinkage(COIL_11)-FluxLinkage(COIL_12)-FluxLinkage(COIL_10)+FluxLinkage(COIL_13)+FluxLinkage(COIL_9)
  p_cu = $Rph*(BranchCurrent(Via)^2+BranchCurrent(Vib)^2+BranchCurrent(Vic)^2)
  Pout = Moving1.Torque*Moving1.Speed
  eff = Pout/(Pout*1.02+p_cu+CoreLoss+SolidLoss)
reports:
  Speed Plot 1: Moving1.Speed vs Time on Setup1 : Transient
  Torque Plot 1: Moving1.LoadTorque, Moving1.Torque vs Time on Setup1 : Transient
  NodeVoltage Plot 1: NodeVoltage(Ivca1), NodeVoltage(Ivca2), NodeVoltage(Ivca3), NodeVoltage(Ivca4), NodeVoltage(Ivca5), NodeVoltage(Ivca6) vs Time on Setup1 : Transient
  BranchCurrent Plot 1: BranchCurrent(Via), BranchCurrent(Vib), BranchCurrent(Vic) vs Time on Setup1 : Transient
  BranchCurrent Plot 2: BranchCurrent(VI_t) vs Time on Setup1 : Transient
  Output Variables Plot 1: p_cu vs Time on Setup1 : Transient
  Loss Plot 1: CoreLoss vs Time on Setup1 : Transient
  Loss Plot 2: SolidLoss vs Time on Setup1 : Transient
  Output Variables Plot 2: Pout vs Time on Setup1 : Transient
  Output Variables Plot 3: eff vs Time on Setup1 : Transient
  NodeVoltage Plot 2: NodeVoltage(Ie_a), NodeVoltage(Ie_b), NodeVoltage(Ie_c) vs Time on Setup1 : Transient

design Armature-Field (Maxwell 2D, Magnetostatic, XY geometry, model units mm)
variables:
  i_a = 1A
  i_b = 0A
  i_c = 0A
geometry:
  Stator [Cogent Power - M350-50A, 50Hz] = circle(normal=Z, centre=(0mm, 0mm, 0mm), radius=$OSD/2)
  Circle2 = circle(normal=Z, centre=(0mm, 0mm, 0mm), radius=$D/2)
  Stator.subtract(Circle2)
  Polyline1 = polyline(z=0mm, xy: (0mm, 0mm) ($D/2+$hs0+$hs1+$hs2, 0mm) (53.858877mm, 3.901461mm) (53.436245mm, 7.7825298mm) ($D/2+$hs0+$hs1, $bs1/2) ($D/2+$hs0, $bs0/2) (0mm, $bs0/2) (0mm, 0mm), closed, covered, AngularArc from point 1 over 3 centre=(0mm, 0mm, 0mm) angle=$alpha_s/2-$gamma_s/2 plane=XY)
  Polyline1.fillet(Vertices=Polyline1.vertex(3 of 6) Radius=$ssfr Setback=0mm)
  Polyline1_1 = Polyline1.duplicate_mirror(point=(0mm, 0mm, 0mm), normal=(0mm, -1mm, 0mm))
  Polyline1.unite(Polyline1_1)
  Polyline1_2..Polyline1_16 = Polyline1.duplicate_around_axis(axis=Z, angle=360deg/15, total=16)
  Stator.subtract(Polyline1_10..Polyline1_16, Polyline1_2..Polyline1_9)
  scain1 [copper] = rectangle(corner=($D/2+$hs0, 0mm, 0mm), x_size=$OSD/2, y_size=$OSD/2)
  scain1.intersect(Polyline1)
  scaout15 [copper] = scain1.duplicate_mirror(point=(33.5mm, 0mm, 0mm), normal=(0mm, -1mm, 0mm))
  scain2..scain15 [copper] = scain1.duplicate_around_axis(axis=Z, angle=360deg/15, total=15)
  scaout1..scaout14 [copper] = scaout15.duplicate_around_axis(axis=Z, angle=360deg/15, total=15)
  Shaft [steel_stainless] = circle(normal=Z, centre=(0mm, 0mm, 0mm), radius=$Dsh/2)
  Rotor [Cogent Power - M350-50A, 50Hz] = circle(normal=Z, centre=(0mm, 0mm, 0mm), radius=$D/2-$g-$dm)
  Circle3_1 = Shaft.copy()
  Rotor.subtract(Circle3_1)
  Enclosure [vacuum] = circle(normal=Z, centre=(0mm, 0mm, 0mm), radius=$OSD/2+10mm)
  Polyline_Bav [non-model] = polyline(z=0mm, xy: ($D/2-$g/2, 0mm) (-32.099988mm, 0.028012531mm) (32.099951mm, -0.056025041mm), AngularArc from point 0 over 3 centre=(0mm, 0mm, 0mm) angle=359.9deg plane=XY)
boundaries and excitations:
  ZeroVectorPotential: Vector Potential Edges=Enclosure.edge(1 of 1) Value=0
  scain1: Current Objects=scain1 Current=$Ntc*i_a IsPositive=false
  scaout1: Current Objects=scaout1 Current=$Ntc*i_a IsPositive=true
  scain6: Current Objects=scain6 Current=$Ntc*i_b IsPositive=false
  scaout6: Current Objects=scaout6 Current=$Ntc*i_b IsPositive=true
  scain11: Current Objects=scain11 Current=$Ntc*i_c IsPositive=false
  scaout11: Current Objects=scaout11 Current=$Ntc*i_c IsPositive=true
  scain2: Current Objects=scain2 Current=$Ntc*i_a IsPositive=true
  scaout2: Current Objects=scaout2 Current=$Ntc*i_a IsPositive=false
  scain7: Current Objects=scain7 Current=$Ntc*i_b IsPositive=true
  scaout7: Current Objects=scaout7 Current=$Ntc*i_b IsPositive=false
  scain12: Current Objects=scain12 Current=$Ntc*i_c IsPositive=true
  scaout12: Current Objects=scaout12 Current=$Ntc*i_c IsPositive=false
  scain15: Current Objects=scain15 Current=$Ntc*i_a IsPositive=true
  scaout15: Current Objects=scaout15 Current=$Ntc*i_a IsPositive=false
  scain5: Current Objects=scain5 Current=$Ntc*i_b IsPositive=true
  scaout5: Current Objects=scaout5 Current=$Ntc*i_b IsPositive=false
  scain10: Current Objects=scain10 Current=$Ntc*i_c IsPositive=true
  scaout10: Current Objects=scaout10 Current=$Ntc*i_c IsPositive=false
  scain3: Current Objects=scain3 Current=$Ntc*i_a IsPositive=false
  scaout3: Current Objects=scaout3 Current=$Ntc*i_a IsPositive=true
  scain8: Current Objects=scain8 Current=$Ntc*i_b IsPositive=false
  scaout8: Current Objects=scaout8 Current=$Ntc*i_b IsPositive=true
  scain13: Current Objects=scain13 Current=$Ntc*i_c IsPositive=false
  scaout13: Current Objects=scaout13 Current=$Ntc*i_c IsPositive=true
  scain14: Current Objects=scain14 Current=$Ntc*i_a IsPositive=false
  scaout14: Current Objects=scaout14 Current=$Ntc*i_a IsPositive=true
  scain4: Current Objects=scain4 Current=$Ntc*i_b IsPositive=false
  scaout4: Current Objects=scaout4 Current=$Ntc*i_b IsPositive=true
  scain9: Current Objects=scain9 Current=$Ntc*i_c IsPositive=false
  scaout9: Current Objects=scaout9 Current=$Ntc*i_c IsPositive=true
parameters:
  Matrix1: Matrix scain1..scain15, scaout1..scaout15: NumberOfTurns=$Ntc; group PhaseA = scain1, scain2, scain3, scain14, scain15, scaout1, scaout2, scaout3, scaout14, scaout15 (1 parallel); group PhaseB = scain4..scain8, scaout4..scaout8 (1 parallel); group PhaseC = scain9..scain13, scaout9..scaout13 (1 parallel)
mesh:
  Length1: LengthBased RefineInside Objects=[Stator, scain1, scaout15, scain2..scain15, scaout1..scaout14, Shaft, Rotor, Enclosure] MaxLength=10mm
  initial mesh: MeshMethod=AnsoftTAU
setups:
  Setup1: Magnetostatic MaximumPasses=10 MinimumPasses=2 MinimumConvergedPasses=1 PercentRefinement=30 PercentError=1 NonLinearResidual=0.0001
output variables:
  L_a = (Matrix1.MagFlux(PhaseA)*$Lstk/1meter)/1A
  L_ba = (Matrix1.MagFlux(PhaseB)*$Lstk/1meter)
  L_ca = (Matrix1.MagFlux(PhaseC)*$Lstk/1meter)
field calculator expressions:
  Br = Fundamental_Quantity(22) | Vector_Function(FuncValueX='0mm', FuncValueY='0mm', FuncValueZ='0mm') | ToCylindrical | ScalarX
  abs_Br = Br | Abs
  phi_ag = abs_Br | EnterLine(Polyline_Bav) | LineValue | Integrate
  Hr = Fundamental_Quantity(21) | Vector_Function(FuncValueX='0mm', FuncValueY='0mm', FuncValueZ='0mm') | ToCylindrical | ScalarX
  abs_Hr = Hr | Abs
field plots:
  Mag_B1: B on Setup1 : LastAdaptive
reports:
   Plot 1: Br vs Distance on Setup1 : LastAdaptive
  Output Variables Table 1: L_a, L_ba, L_ca vs i_a on Setup1 : LastAdaptive [i_b=all]
  L Table 1: L(PhaseA,PhaseA), L(PhaseB,PhaseA), L(PhaseC,PhaseA) vs i_a on Setup1 : LastAdaptive

design Magnetic_loading1 (Maxwell 2D, Magnetostatic, XY geometry, model units mm)
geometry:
  Stator [Cogent Power - M350-50A, 50Hz] = circle(normal=Z, centre=(0mm, 0mm, 0mm), radius=$OSD/2)
  Circle2 = circle(normal=Z, centre=(0mm, 0mm, 0mm), radius=$D/2)
  Stator.subtract(Circle2)
  Polyline1 = polyline(z=0mm, xy: (0mm, 0mm) ($D/2+$hs0+$hs1+$hs2, 0mm) (53.858877mm, 3.901461mm) (53.436245mm, 7.7825298mm) ($D/2+$hs0+$hs1, $bs1/2) ($D/2+$hs0, $bs0/2) (0mm, $bs0/2) (0mm, 0mm), closed, covered, AngularArc from point 1 over 3 centre=(0mm, 0mm, 0mm) angle=$alpha_s/2-$gamma_s/2 plane=XY)
  Polyline1.fillet(Vertices=Polyline1.vertex(3 of 6) Radius=$ssfr Setback=0mm)
  Polyline1_1 = Polyline1.duplicate_mirror(point=(0mm, 0mm, 0mm), normal=(0mm, -1mm, 0mm))
  Polyline1.unite(Polyline1_1)
  Polyline1_2..Polyline1_16 = Polyline1.duplicate_around_axis(axis=Z, angle=360deg/15, total=16)
  Stator.subtract(Polyline1_10..Polyline1_16, Polyline1_2..Polyline1_9)
  scain1 [copper] = rectangle(corner=($D/2+$hs0, 0mm, 0mm), x_size=$OSD/2, y_size=$OSD/2)
  scain1.intersect(Polyline1)
  scaout15 [copper] = scain1.duplicate_mirror(point=(33.5mm, 0mm, 0mm), normal=(0mm, -1mm, 0mm))
  scain2..scain15 [copper] = scain1.duplicate_around_axis(axis=Z, angle=360deg/15, total=15)
  scaout1..scaout14 [copper] = scaout15.duplicate_around_axis(axis=Z, angle=360deg/15, total=15)
  Shaft [steel_stainless] = circle(normal=Z, centre=(0mm, 0mm, 0mm), radius=$Dsh/2)
  Rotor [Cogent Power - M350-50A, 50Hz] = circle(normal=Z, centre=(0mm, 0mm, 0mm), radius=$D/2-$g-$dm)
  m1 [Arnold_Magnetics_N42UH_60C_North] = polyline(z=0mm, xy: (0mm, 0mm) (($D/2-$g)*cos(-$alpha_m/2), ($D/2-$g)*sin(-$alpha_m/2)) (31.7mm, 0mm) (30.997384mm, 6.63718mm) (0mm, 0mm), closed, covered, AngularArc from point 1 over 3 centre=(0mm, 0mm, 0mm) angle=$alpha_m plane=XY)
  Circle4_1 = Rotor.copy()
  m1.subtract(Circle4_1)
  Circle3_1 = Shaft.copy()
  Rotor.subtract(Circle3_1)
  m2 [Arnold_Magnetics_N42UH_60C_South], m3 [Arnold_Magnetics_N42UH_60C_North], m4 [Arnold_Magnetics_N42UH_60C_South], m5 [Arnold_Magnetics_N42UH_60C_North], m6 [Arnold_Magnetics_N42UH_60C_South], m7 [Arnold_Magnetics_N42UH_60C_North], m8 [Arnold_Magnetics_N42UH_60C_South], m9 [Arnold_Magnetics_N42UH_60C_North], m10 [Arnold_Magnetics_N42UH_60C_South], m11 [Arnold_Magnetics_N42UH_60C_North], m12 [Arnold_Magnetics_N42UH_60C_South], m13 [Arnold_Magnetics_N42UH_60C_North], m14 [Arnold_Magnetics_N42UH_60C_South] = m1.duplicate_around_axis(axis=Z, angle=(360/14) deg, total=14)
  Enclosure [vacuum] = circle(normal=Z, centre=(0mm, 0mm, 0mm), radius=$OSD/2+10mm)
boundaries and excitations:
  ZeroVectorPotential: Vector Potential Edges=Enclosure.edge(1 of 1) Value=0
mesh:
  PMs: LengthBased RefineInside Objects=[m1, m3, m5, m7, m9, m11, m13, m2, m4, m6, m8, m10, m12, m14] MaxLength=$dm/2
  Length1: LengthBased RefineInside Objects=[Stator, scain1, scaout15, scain2..scain15, scaout1..scaout14, Shaft, Rotor, m1..m14, Enclosure] MaxLength=10mm
  initial mesh: MeshMethod=AnsoftTAU
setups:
  Setup1: Magnetostatic MaximumPasses=10 MinimumPasses=2 MinimumConvergedPasses=1 PercentRefinement=30 PercentError=1 NonLinearResidual=0.0001
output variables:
  K_l = phi_ag/(phi_m1+phi_m2+phi_m3+phi_m4+phi_m5+phi_m6+phi_m7+phi_m8+phi_m9+phi_m10+phi_m11+phi_m12+phi_m13+phi_m14)
  K_r = (mmf_m1+mmf_m2+mmf_m3+mmf_m4+mmf_m5+mmf_m6+mmf_m7+mmf_m8+mmf_m9+mmf_m10+mmf_m11+mmf_m12+mmf_m13+mmf_m14)/(mmf_g1+mmf_g2+mmf_g3+mmf_g4+mmf_g5+mmf_g6+mmf_g7+mmf_g8+mmf_g9+mmf_g10+mmf_g11+mmf_g12+mmf_g13+mmf_g14)
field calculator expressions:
  Br = Fundamental_Quantity(22) | Vector_Function(FuncValueX='0mm', FuncValueY='0mm', FuncValueZ='0mm') | ToCylindrical | ScalarX
  abs_Br = Br | Abs
  Hr = Fundamental_Quantity(21) | Vector_Function(FuncValueX='0mm', FuncValueY='0mm', FuncValueZ='0mm') | ToCylindrical | ScalarX
  abs_Hr = Hr | Abs
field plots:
  Flux_Lines1: A over Stator, scain1, scaout15, scain2..scain15, scaout1..scaout14, Shaft, Rotor, m1..m14 on Setup1 : LastAdaptive

design Back_EMF_Ckt (Maxwell Circuit)
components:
  Winding_2 = Winding(Name=COIL_1)
  Winding_3 = Winding(Name=COIL_2)
  Winding_4 = Winding(Name=COIL_3)
  Winding_5 = Winding(Name=COIL_4)
  Winding_6 = Winding(Name=COIL_5)
  Winding_7 = Winding(Name=COIL_6)
  Winding_8 = Winding(Name=COIL_7)
  Winding_9 = Winding(Name=COIL_8)
  Winding_10 = Winding(Name=COIL_9)
  Winding_11 = Winding(Name=COIL_10)
  Winding_12 = Winding(Name=COIL_11)
  Winding_13 = Winding(Name=COIL_12)
  Winding_14 = Winding(Name=COIL_13)
  Winding_15 = Winding(Name=COIL_14)
  Winding_16 = Winding(Name=COIL_15)
  IDC_17 = IDC()
  IDC_20 = IDC()
  IDC_21 = IDC()
  VoltmeterG_23 = VoltmeterG(Name=e_a)
  VoltmeterG_24 = VoltmeterG(Name=e_b)
  VoltmeterG_25 = VoltmeterG(Name=e_c)
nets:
  0: Winding_16.0, Winding_9.1, Winding_14.1, IDC_17.0, IDC_21.0, IDC_20.0
  net_1: Winding_4.0, Winding_2.1
  net_10: Winding_11.0, Winding_12.0
  net_11: Winding_13.1, Winding_12.1
  net_12: Winding_13.0, Winding_14.0
  net_13: Winding_2.0, IDC_17.1, VoltmeterG_23.0
  net_14: Winding_7.0, VoltmeterG_24.0, IDC_20.1
  net_15: Winding_10.0, VoltmeterG_25.0, IDC_21.1
  net_2: Winding_15.0, Winding_4.1
  net_3: Winding_15.1, Winding_3.1
  net_4: Winding_16.1, Winding_3.0
  net_5: Winding_7.1, Winding_8.1
  net_6: Winding_8.0, Winding_6.1
  net_7: Winding_5.0, Winding_6.0
  net_8: Winding_9.0, Winding_5.1
  net_9: Winding_11.1, Winding_10.1

design Dynamic_circuit (Maxwell Circuit)
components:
  VDC_28 = VDC(V=$Vdc/2)
  VDC_29 = VDC(V=$Vdc/2)
  Ammeter_30 = Ammeter(Name=I_t)
  DIODE_31 = DIODE(MOD=DiodeModel)
  DIODE_32 = DIODE(MOD=DiodeModel)
  DIODE_34 = DIODE(MOD=DiodeModel)
  DIODE_36 = DIODE(MOD=DiodeModel)
  SW_V_46 = SW_V(MOD=SW_Model ID_V=Ivca1)
  SW_V_50 = SW_V(MOD=SW_Model ID_V=Ivca2)
  DIODE_Model_54 = DIODE_Model(DeviceName=DiodeModel)
  SW_VModel_55 = SW_VModel(DeviceName=SW_Model)
  DIODE_63 = DIODE(MOD=DiodeModel)
  DIODE_64 = DIODE(MOD=DiodeModel)
  DIODE_65 = DIODE(MOD=DiodeModel)
  DIODE_66 = DIODE(MOD=DiodeModel)
  SW_V_67 = SW_V(MOD=SW_Model ID_V=Ivca3)
  SW_V_68 = SW_V(MOD=SW_Model ID_V=Ivca4)
  DIODE_69 = DIODE(MOD=DiodeModel)
  DIODE_70 = DIODE(MOD=DiodeModel)
  DIODE_71 = DIODE(MOD=DiodeModel)
  DIODE_72 = DIODE(MOD=DiodeModel)
  SW_V_73 = SW_V(MOD=SW_Model ID_V=Ivca5)
  SW_V_74 = SW_V(MOD=SW_Model ID_V=Ivca6)
  Winding_92 = Winding(Name=COIL_1)
  Winding_93 = Winding(Name=COIL_2)
  Winding_94 = Winding(Name=COIL_3)
  Winding_95 = Winding(Name=COIL_4)
  Winding_96 = Winding(Name=COIL_5)
  Winding_97 = Winding(Name=COIL_6)
  Winding_98 = Winding(Name=COIL_7)
  Winding_99 = Winding(Name=COIL_8)
  Winding_100 = Winding(Name=COIL_9)
  Winding_101 = Winding(Name=COIL_10)
  Winding_102 = Winding(Name=COIL_11)
  Winding_103 = Winding(Name=COIL_12)
  Winding_104 = Winding(Name=COIL_13)
  Winding_105 = Winding(Name=COIL_14)
  Winding_106 = Winding(Name=COIL_15)
  Ammeter_108 = Ammeter(Name=ib)
  Ammeter_109 = Ammeter(Name=ic)
  Res_110 = Res(R=$Rph)
  Res_111 = Res(R=$Rph)
  Res_112 = Res(R=$Rph)
  VoltmeterG_114 = VoltmeterG(Name=v_a)
  VoltmeterG_115 = VoltmeterG(Name=e_a)
  VoltmeterG_116 = VoltmeterG(Name=v_b)
  VoltmeterG_117 = VoltmeterG(Name=e_b)
  VoltmeterG_118 = VoltmeterG(Name=v_c)
  VoltmeterG_119 = VoltmeterG(Name=e_c)
  VPulse_120 = VPulse(V1=-1V Tr=0 Tf=0 Pw=720/(3*$Nm) Period=720/$Nm Type=POS)
  Res_123 = Res()
  VoltmeterG_124 = VoltmeterG(Name=vca1)
  VPulse_129 = VPulse(V1=-1V Tr=0 Tf=0 Pw=720/(3*$Nm) Period=720/$Nm Type=POS Td=(720/$Nm)/2)
  Res_130 = Res()
  VoltmeterG_131 = VoltmeterG(Name=vca2)
  VPulse_132 = VPulse(V1=-1V Tr=0 Tf=0 Pw=720/(3*$Nm) Period=720/$Nm Type=POS Td=(720/$Nm)/3)
  Res_133 = Res()
  VoltmeterG_134 = VoltmeterG(Name=vca3)
  VPulse_135 = VPulse(V1=-1V Tr=0 Tf=0 Pw=720/(3*$Nm) Period=720/$Nm Type=POS Td=((5*720)/$Nm)/6)
  Res_136 = Res()
  VoltmeterG_137 = VoltmeterG(Name=vca4)
  VPulse_138 = VPulse(V1=-1V Tr=0 Tf=0 Pw=720/(3*$Nm) Period=720/$Nm Type=POS Td=((2*720)/$Nm)/3)
  Res_139 = Res()
  VoltmeterG_140 = VoltmeterG(Name=vca5)
  VPulse_141 = VPulse(V1=-1V Tr=0 Tf=0 Pw=720/(3*$Nm) Period=720/$Nm Type=POS Td=(720/$Nm)/6)
  Res_142 = Res()
  VoltmeterG_143 = VoltmeterG(Name=vca6)
  Ammeter_146 = Ammeter(Name=ia)
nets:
  0: VDC_28.1, VDC_29.0, Res_133.0, Res_136.0, Res_123.0, Res_130.0, VPulse_135.1, Res_139.0, VPulse_141.1, VPulse_138.1, VPulse_129.1, Res_142.0, VPulse_120.1, VPulse_132.1
  net_10: Winding_105.0, Winding_94.1
  net_11: Winding_105.1, Winding_93.1
  net_13: DIODE_70.0, DIODE_71.1, Ammeter_109.0, DIODE_72.0, SW_V_73.1
  net_14: SW_V_74.0, DIODE_72.1
  net_15: Winding_106.1, Winding_93.0
  net_16: DIODE_34.0, SW_V_50.1, DIODE_65.0, SW_V_68.1, DIODE_71.0, VDC_29.1, SW_V_74.1
  net_17: Winding_98.1, Winding_97.1
  net_18: Winding_96.1, Winding_98.0
  net_19: Winding_96.0, Winding_95.0
  net_2: VDC_28.0, Ammeter_30.0
  net_20: Winding_99.0, Winding_95.1
  net_21: Winding_101.1, Winding_100.1
  net_22: Winding_101.0, Winding_102.0
  net_23: Winding_102.1, Winding_103.1
  net_24: Winding_103.0, Winding_104.0
  net_25: Winding_92.0, Res_110.1, VoltmeterG_115.0
  net_26: Res_111.1, Winding_97.0, VoltmeterG_117.0
  net_27: Res_112.1, Winding_100.0, VoltmeterG_119.0
  net_28: Res_110.0, VoltmeterG_114.0, Ammeter_146.1
  net_29: Ammeter_109.1, Res_112.0, VoltmeterG_118.0
  net_30: Res_111.0, VoltmeterG_116.0, Ammeter_108.1
  net_31: Res_123.1, VPulse_120.0, VoltmeterG_124.0
  net_32: VoltmeterG_131.0, Res_130.1, VPulse_129.0
  net_33: Res_133.1, VoltmeterG_134.0, VPulse_132.0
  net_34: Res_136.1, VoltmeterG_137.0, VPulse_135.0
  net_35: Res_139.1, VPulse_138.0, VoltmeterG_140.0
  net_36: VPulse_141.0, VoltmeterG_143.0, Res_142.1
  net_38: Winding_106.0, Winding_99.1, Winding_104.1
  net_39: SW_V_46.0, DIODE_31.1
  net_4: SW_V_46.1, DIODE_34.1, DIODE_36.0, DIODE_32.0, Ammeter_146.0
  net_40: DIODE_63.1, SW_V_67.0
  net_41: DIODE_69.1, SW_V_73.0
  net_5: DIODE_36.1, SW_V_50.0
  net_6: Ammeter_30.1, DIODE_63.0, DIODE_31.0, DIODE_64.1, DIODE_69.0, DIODE_32.1, DIODE_70.1
  net_7: Winding_92.1, Winding_94.0
  net_8: DIODE_64.0, DIODE_65.1, DIODE_66.0, SW_V_67.1, Ammeter_108.0
  net_9: DIODE_66.1, SW_V_68.0
